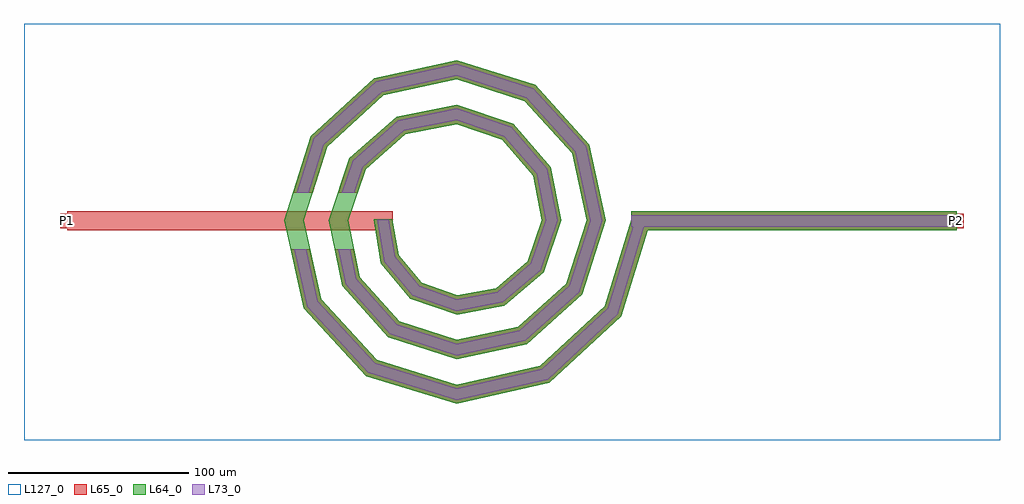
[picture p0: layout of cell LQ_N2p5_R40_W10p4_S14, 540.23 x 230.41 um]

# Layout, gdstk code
import gdstk
lib = gdstk.Library(unit=1e-6, precision=1e-09)
def R(c, l, rs):  # rectangles x0, y0, x1, y1
    for r in rs: c.add(gdstk.rectangle(r[:2], r[2:], *l))
def P(c, l, *ps):  # polygons
    for p in ps: c.add(gdstk.Polygon(p, *l))
L64_0 = (64, 0)
L65_0 = (65, 0)
L73_0 = (73, 0)
L127_0 = (127, 0)

lq_n2p5_r40_w10p4_s14 = lib.new_cell('LQ_N2p5_R40_W10p4_S14')
R(lq_n2p5_r40_w10p4_s14, L64_0, [(96.964,-5.2,276.964,5.2)])
P(lq_n2p5_r40_w10p4_s14, L64_0, [(-31.933,-18.996),(-19.204,-34.186),(0.442,-41.263),(22.026,-37.304),(39.499,-22.335),(47.43,0.391),(42.668,25.069),(25.457,44.818),(0.35,53.598),(-28.12,48.029),(-50.142,28.572),(-59.767,0.317),(-53.387,-31.178),(-31.682,-55.47),(0.289,-65.936),(34.24,-58.742),(60.801,-34.787),(72.105,0.266),(64.096,37.305),(37.89,66.133),(0.247,78.274),(-40.374,69.448),(-71.467,40.99),(-84.444,0.23),(-74.799,-43.445),(-44.088,-76.803),(0.215,-90.614),(46.518,-80.15),(82.139,-47.185),(97.196,1.535),(107.132,-1.535),(91.251,-52.922),(51.533,-89.679),(0.215,-101.373),(-49.849,-85.901),(-84.342,-48.435),(-95.203,0.23),(-80.549,46.777),(-45.336,79.006),(0.247,89.032),(43.706,75.196),(73.671,42.234),(82.86,0.266),(69.841,-40.639),(39.13,-68.337),(0.289,-76.689),(-37.574,-64.484),(-63.005,-36.021),(-70.518,0.317),(-59.125,34.513),(-32.909,57.676),(0.35,64.345),(31.458,53.762),(52.349,29.79),(58.173,0.391),(48.394,-28.409),(26.662,-47.027),(0.442,-51.999),(-25.371,-43.019),(-41.71,-23.522),(-45.586,0.877),(-35.336,0.877)])
R(lq_n2p5_r40_w10p4_s14, L65_0, [(-215.261,-5.2,-35.261,5.2), (96.964,-5.2,276.964,5.2), (-219.261,-4,-211.261,4), (272.964,-4,280.964,4)])
P(lq_n2p5_r40_w10p4_s14, L65_0, [(-74.799,-43.445),(-44.088,-76.803),(0.215,-90.614),(46.518,-80.15),(82.139,-47.185),(97.196,1.535),(107.132,-1.535),(91.251,-52.922),(51.533,-89.679),(0.215,-101.373),(-49.849,-85.901),(-84.342,-48.435),(-91.67,-15.6),(-81.014,-15.6)],
  [(-53.387,-31.178),(-31.682,-55.47),(0.289,-65.936),(34.24,-58.742),(60.801,-34.787),(72.105,0.266),(64.096,37.306),(37.89,66.133),(0.247,78.274),(-40.374,69.448),(-71.467,40.99),(-79.461,15.6),(-90.364,15.6),(-80.549,46.777),(-45.336,79.006),(0.247,89.032),(43.706,75.196),(73.671,42.234),(82.861,0.266),(69.841,-40.639),(39.13,-68.337),(0.289,-76.689),(-37.574,-64.484),(-63.005,-36.021),(-67.227,-15.6),(-56.607,-15.6)],
  [(-19.204,-34.186),(0.442,-41.263),(22.026,-37.304),(39.499,-22.335),(47.43,0.391),(42.668,25.069),(25.457,44.818),(0.35,53.598),(-28.12,48.029),(-50.142,28.572),(-54.464,15.6),(-65.426,15.6),(-59.125,34.513),(-32.909,57.676),(0.35,64.346),(31.458,53.762),(52.349,29.79),(58.173,0.391),(48.394,-28.409),(26.662,-47.027),(0.442,-51.999),(-25.371,-43.019),(-41.71,-23.522),(-45.586,0.878),(-35.336,0.878),(-31.933,-18.996)])
R(lq_n2p5_r40_w10p4_s14, L73_0, [(96.964,-3.2,276.964,3.2)])
P(lq_n2p5_r40_w10p4_s14, L73_0, [(-76.634,-44.405),(-45.196,-78.552),(0.132,-92.683),(47.482,-81.982),(83.892,-48.288),(99.107,0.945),(105.221,0.945),(89.499,-51.819),(50.568,-87.846),(0.132,-99.304),(-48.741,-84.151),(-82.507,-47.476),(-89.621,-15.6),(-83.063,-15.6)],
  [(-55.236,-32.109),(-32.815,-57.204),(0.178,-68.004),(35.18,-60.587),(62.539,-35.913),(74.173,0.164),(65.937,38.253),(39.008,67.876),(0.152,80.343),(-41.328,71.286),(-73.214,42.103),(-81.557,15.6),(-88.267,15.6),(-78.802,45.664),(-44.382,77.168),(0.152,86.963),(42.588,73.453),(71.829,41.286),(80.792,0.164),(68.103,-39.513),(38.189,-66.492),(0.178,-74.621),(-36.441,-62.751),(-61.156,-35.09),(-65.185,-15.6),(-58.649,-15.6)],
  [(-20.39,-35.885),(0.272,-43.328),(22.918,-39.173),(41.209,-23.503),(49.496,0.24),(44.53,25.977),(26.611,46.538),(0.215,55.665),(-29.041,49.884),(-51.87,29.715),(-56.572,15.6),(-63.318,15.6),(-57.397,33.371),(-31.988,55.821),(0.215,62.279),(30.304,52.042),(50.487,28.882),(56.107,0.24),(46.683,-27.241),(25.77,-45.157),(0.272,-49.935),(-24.185,-41.32),(-39.83,-22.651),(-43.615,0.54),(-37.307,0.54),(-33.813,-19.866)])
R(lq_n2p5_r40_w10p4_s14, L127_0, [(-239.261,-121.373,300.964,109.032)])
lq_n2p5_r40_w10p4_s14.add(gdstk.Label('P2', (276.964,0), layer=65, texttype=0))
lq_n2p5_r40_w10p4_s14.add(gdstk.Label('P1', (-215.261,0), layer=65, texttype=0))
lq_n2p5_r40_w10p4_s14.add(gdstk.Label('P2', (280.964,0), layer=145, texttype=0))
lq_n2p5_r40_w10p4_s14.add(gdstk.Label('P1', (-219.261,0), layer=145, texttype=0))

lib.write_gds('LQ_N2p5_R40_W10p4_S14.gds')
